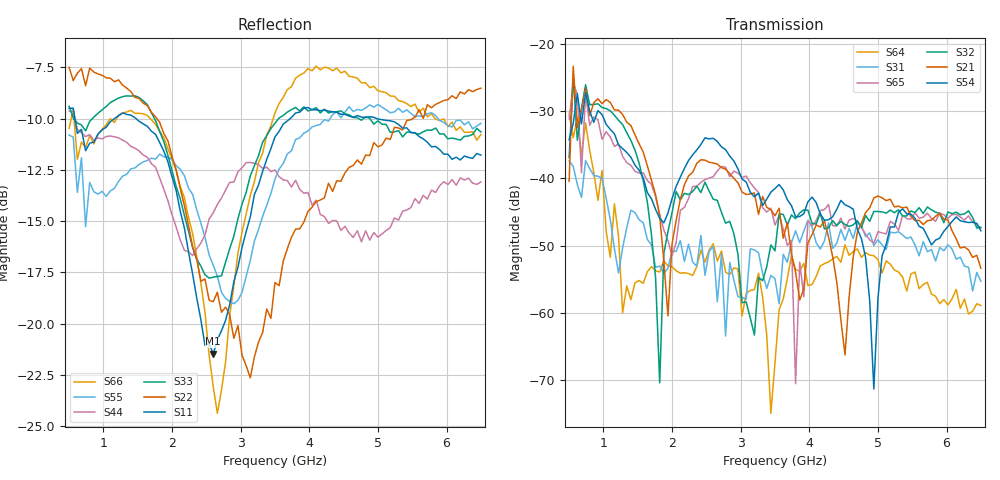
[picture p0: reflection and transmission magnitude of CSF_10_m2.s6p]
!Keysight Technologies,M9804A,MY58100912,A.14.10.03
!Date: Thursday, April 27, 2023 10:28:33
!Correction: S11(C  6-Port  )
!S12(C  6-Port  )
!S13(C  6-Port  )
!S14(C  6-Port  )
!S15(C  6-Port  )
!S16(C  6-Port  )
!S21(C  6-Port  )
!S22(C  6-Port  )
!S23(C  6-Port  )
!S24(C  6-Port  )
!S25(C  6-Port  )
!S26(C  6-Port  )
!S31(C  6-Port  )
!S32(C  6-Port  )
!S33(C  6-Port  )
!S34(C  6-Port  )
!S35(C  6-Port  )
!S36(C  6-Port  )
!S41(C  6-Port  )
!S42(C  6-Port  )
!S43(C  6-Port  )
!S44(C  6-Port  )
!S45(C  6-Port  )
!S46(C  6-Port  )
!S51(C  6-Port  )
!S52(C  6-Port  )
!S53(C  6-Port  )
!S54(C  6-Port  )
!S55(C  6-Port  )
!S56(C  6-Port  )
!S61(C  6-Port  )
!S62(C  6-Port  )
!S63(C  6-Port  )
!S64(C  6-Port  )
!S65(C  6-Port  )
!S66(C  6-Port  )
!S6P File: Measurement: :
# Hz S  RI  R 50
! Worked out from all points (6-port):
!   101 points, 500 MHz to 6.5 GHz, reference 50 ohm
!   strongest paths, dB at 500 MHz, 2 GHz, 3.5 GHz, 5 GHz, 6.5 GHz:
!     S54: -34.3, -43.0, -41.5, -57.8, -47.8
!     S21: -40.4, -49.7, -45.6, -42.6, -53.4
!     S32: -37.0, -45.1, -50.8, -44.9, -47.3
!     S65: -31.2, -51.5, -47.0, -47.9, -47.4
!     S31: -37.4, -50.8, -54.9, -49.1, -55.3
!     S64: -30.4, -53.1, -67.4, -52.1, -58.9
!   lowest |S11| = -21.5 dB at 2.6 GHz (marker M1), VSWR 1.18, Z = 42.5 + j1.99 ohm
!   |S11| at or under -10 dB: 584.5 MHz to 1.162 GHz (577.1 MHz wide, 66.1 % of centre); 1.473 GHz to 3.722 GHz (2.249 GHz wide, 86.6 % of centre); 4.983 GHz to end of sweep
